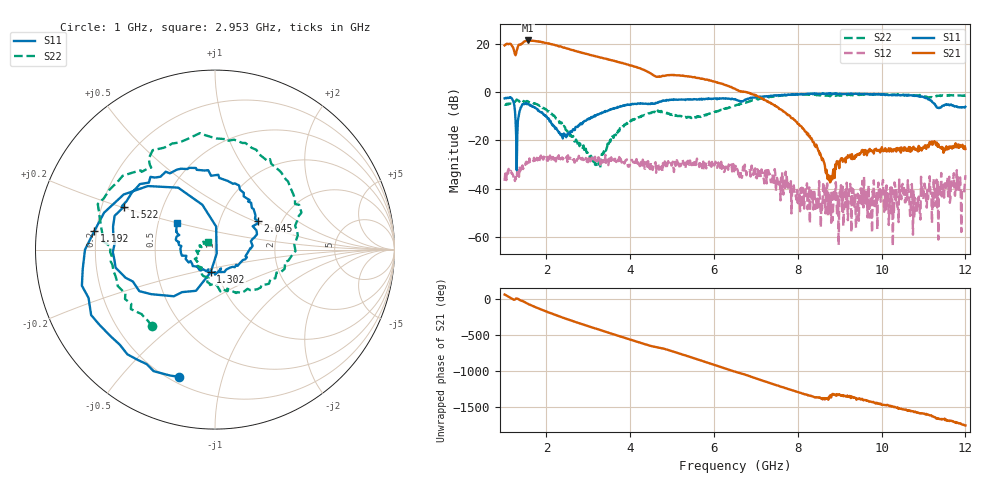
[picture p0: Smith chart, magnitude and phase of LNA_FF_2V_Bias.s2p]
!Keysight Technologies N9917A: A.08.15
!Date: Friday, 13 October 2017 17:26:18
!Timezone: (GMT-08:00) Pacific Time (US & Canada)
!Model: N9917A
!Serial: MY53102735
!GPS Latitude:
!GPS Longitude:
!GPS TimeStamp: 0001-01-01 00:00:00Z
!GPS Seconds Since Last Read: 0
!CHECKSUM:0366163264
!Correction: S11(ON U)S21(ON U)S12(ON U)S22(ON U)
!S2P File: Measurements:S11,S21,S12,S22:
# Hz S DB R 50
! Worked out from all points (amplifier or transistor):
!   801 points, 1 GHz to 12 GHz, reference 50 ohm
!   highest |S21| = 21.3 dB at 1.564 GHz (marker M1)
!   |S21| within 3 dB of that: 1.309 GHz to 2.43 GHz (1.121 GHz wide, 59.9 % of centre)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
!   unconditionally stable (mu >= 1): start of sweep to 1.007 GHz; 1.195 GHz to 1.416 GHz; 1.958 GHz to end of sweep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
!   at 2.829 GHz: K = 1.88, MAG = 16.7 dB, |S12| = -27.8 dB
!   at 6.5 GHz: K = 5.81, MAG = 6.1 dB, |S12| = -32.1 dB
!   at 12 GHz: K = 88.40, MAG = -17.1 dB, |S12| = -34.4 dB
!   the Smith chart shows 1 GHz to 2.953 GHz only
!   S11 on the Smith chart (normalised r, x): 1 GHz: 0.23, -0.73; 1.192 GHz: 0.19, +0.07; 1.302 GHz: 0.92, -0.24; 1.522 GHz: 0.29, +0.20; 2.045 GHz: 1.51, +0.53; 2.953 GHz: 0.62, +0.20
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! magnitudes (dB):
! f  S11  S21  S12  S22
! 1 GHz  -2.6  19.3  -36.7  -5.1
! 1.192 GHz  -3.4  18.7  -34.0  -4.8
! 1.302 GHz  -17.9  17.9  -32.2  -3.3
! 1.522 GHz  -5.0  21.1  -28.8  -3.9
! 1.564 GHz  -5.0  21.3  -28.6  -4.0
! 2.045 GHz  -10.9  20.1  -27.0  -7.9
! 2.43 GHz  -18.0  18.3  -27.7  -14.4
! 2.842 GHz  -13.3  16.2  -27.9  -23.2
! 2.953 GHz  -11.7  15.8  -27.6  -24.9
! 3.228 GHz  -9.4  14.5  -27.9  -29.9
! 3.805 GHz  -5.8  12.0  -29.1  -15.0
! 4.671 GHz  -4.2  6.3  -30.2  -8.1
! 6.5 GHz  -2.9  1.3  -32.1  -5.7
! 8.342 GHz  -0.7  -19.8  -40.9  -1.1
! 8.769 GHz  -0.6  -37.3  -43.2  -1.8
! 9.209 GHz  -0.7  -26.7  -44.9  -1.1
! 9.401 GHz  -0.8  -26.3  -51.3  -1.1
! 10.17 GHz  -1.3  -23.2  -55.0  -1.1
! 10.47 GHz  -1.3  -22.9  -44.3  -1.2
! 10.87 GHz  -1.7  -24.6  -47.0  -1.4
! 11 GHz  -2.0  -22.7  -44.3  -1.6
! 12 GHz  -6.1  -23.6  -34.4  -1.5
